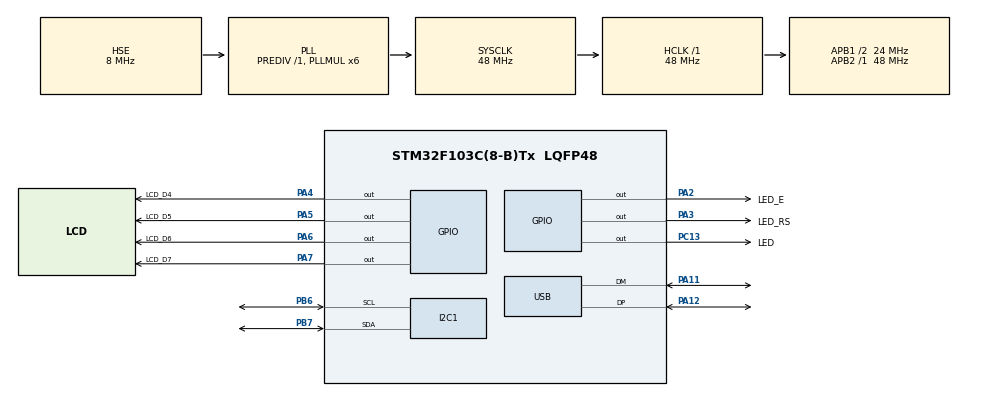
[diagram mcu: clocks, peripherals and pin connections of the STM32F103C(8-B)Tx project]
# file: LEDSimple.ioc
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Mcu.Family=STM32F1
Mcu.Name=STM32F103C(8-B)Tx
Mcu.Package=LQFP48
NVIC.PriorityGroup=NVIC_PRIORITYGROUP_4
NVIC.USB_LP_CAN1_RX0_IRQn=true\:0\:0\:false\:false\:true\:false\:true
PA11.Mode=Device
PA11.Signal=USB_DM
PA12.Mode=Device
PA12.Signal=USB_DP
PA13.Mode=Serial_Wire
PA13.Signal=SYS_JTMS-SWDIO
PA14.Mode=Serial_Wire
PA14.Signal=SYS_JTCK-SWCLK
PA2.GPIO_Label=LED_E
PA2.Signal=GPIO_Output
PA3.GPIO_Label=LED_RS
PA3.Signal=GPIO_Output
PA4.GPIO_Label=LCD_D4
PA4.Signal=GPIO_Output
PA5.GPIO_Label=LCD_D5
PA5.Signal=GPIO_Output
PA6.GPIO_Label=LCD_D6
PA6.Signal=GPIO_Output
PA7.GPIO_Label=LCD_D7
PA7.Signal=GPIO_Output
PB6.Mode=I2C
PB6.Signal=I2C1_SCL
PB7.Mode=I2C
PB7.Signal=I2C1_SDA
PC13-TAMPER-RTC.GPIO_Label=LED
PC13-TAMPER-RTC.Signal=GPIO_Output
PD0-OSC_IN.Mode=HSE-External-Oscillator
PD0-OSC_IN.Signal=RCC_OSC_IN
PD1-OSC_OUT.Mode=HSE-External-Oscillator
PD1-OSC_OUT.Signal=RCC_OSC_OUT
ProjectManager.HeapSize=0x200
ProjectManager.StackSize=0x400
ProjectManager.TargetToolchain=TrueSTUDIO
RCC.AHBFreq_Value=48000000
RCC.APB1CLKDivider=RCC_HCLK_DIV2
RCC.APB1Freq_Value=24000000
RCC.APB1TimFreq_Value=48000000
RCC.APB2Freq_Value=48000000
RCC.APB2TimFreq_Value=48000000
RCC.HCLKFreq_Value=48000000
RCC.PLLMUL=RCC_PLL_MUL6
RCC.SYSCLKFreq_VALUE=48000000
RCC.SYSCLKSource=RCC_SYSCLKSOURCE_PLLCLK
RCC.USBFreq_Value=48000000
USB_DEVICE.CLASS_NAME_FS=CDC
USB_DEVICE.VirtualMode=Cdc
USB_DEVICE.VirtualModeFS=Cdc_FS
VP_USB_DEVICE_VS_USB_DEVICE_CDC_FS.Mode=CDC_FS
board=custom

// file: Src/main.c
/* USER CODE BEGIN Header */
/**
  ******************************************************************************
  * @file           : main.c
  * @brief          : Main program body
  ******************************************************************************
  * @attention
  *
  * <h2><center>&copy; Copyright (c) 2019 STMicroelectronics.
  * All rights reserved.</center></h2>
  *
  * This software component is licensed by ST under BSD 3-Clause license,
  * the "License"; You may not use this file except in compliance with the
  * License. You may obtain a copy of the License at:
  *                        opensource.org/licenses/BSD-3-Clause
  *
  ******************************************************************************
  */
/* USER CODE END Header */

#include "main.h"
#include "usb_device.h"
#include "BMP280/bmp280.h"

/* USER CODE BEGIN PD */
BMP280_HandleTypedef bmp280;

float pressure = 2.1f;
float temperature = 2.5f;
float humidity = 2.4f;

uint16_t size;
uint8_t Data[256];
  /* USER CODE END 6 */

/* USER CODE END PD */

I2C_HandleTypeDef hi2c1;

void SystemClock_Config(void);
static void MX_GPIO_Init(void);
static void MX_I2C1_Init(void);

int main(void)
{

  /* MCU Configuration--------------------------------------------------------*/

  /* Reset of all peripherals, Initializes the Flash interface and the Systick. */
  HAL_Init();

  /* Configure the system clock */
  SystemClock_Config();

  /* Initialize all configured peripherals */
  MX_GPIO_Init();
  MX_USB_DEVICE_Init();
  MX_I2C1_Init();
  /* USER CODE BEGIN 2 */

LCD_Init();
MX_USB_DEVICE_Init();
//HAL_Delay2(500);
lcd_str_XY(1,0,"TEST :)");

bmp280_init_default_params(&bmp280.params);
	bmp280.addr = BMP280_I2C_ADDRESS_0;
	bmp280.i2c = &hi2c1;

	while (!bmp280_init(&bmp280, &bmp280.params)) {
		size = sprintf((char *)Data, "BMP280 initialization failed\n");
		lcd_str_XY(1,0, Data);
		HAL_Delay2(2000);
	}
	bool bme280p = bmp280.id == BME280_CHIP_ID;
		size = sprintf((char *)Data, "found %s !", bme280p ? "BME280" : "BMP280");
		lcd_str_XY(1,0,Data);

	HAL_Delay2(1000);

  /* USER CODE END 2 */

  /* Infinite loop */
  while (1)
  {
	  HAL_Delay2(100);
	  		while (!bmp280_read_float(&bmp280, &temperature, &pressure, &humidity)) {
	  			size = sprintf((char *)Data,
	  					"Temperature/pressure reading failed!");
	  			lcd_str_XY(1,0,Data);
	  			HAL_Delay(2000);
	  		}

	  		size = sprintf((char *)Data,"P: %d Pa             ",
	  				(int)pressure);

	  		lcd_str_XY(0,0,Data);
	  		if (bme280p) {
	  		size = sprintf((char *)Data,", H: %d %% T: %d C           ", (int)humidity, (int)temperature);
	  			lcd_str_XY(0,1,Data);
	  		}

	  		else {
	  			size = sprintf((char *)Data, "");
	  			lcd_str_XY(1,0, Data);
	  		}
	  		HAL_Delay2(2000);
  }
}

void SystemClock_Config(void)
{
  RCC_OscInitTypeDef RCC_OscInitStruct = {0};
  RCC_ClkInitTypeDef RCC_ClkInitStruct = {0};
  RCC_PeriphCLKInitTypeDef PeriphClkInit = {0};

  /** Initializes the CPU, AHB and APB busses clocks
  */
  RCC_OscInitStruct.OscillatorType = RCC_OSCILLATORTYPE_HSE;
  RCC_OscInitStruct.HSEState = RCC_HSE_ON;
  RCC_OscInitStruct.HSEPredivValue = RCC_HSE_PREDIV_DIV1;
  RCC_OscInitStruct.HSIState = RCC_HSI_ON;
  RCC_OscInitStruct.PLL.PLLState = RCC_PLL_ON;
  RCC_OscInitStruct.PLL.PLLSource = RCC_PLLSOURCE_HSE;
  RCC_OscInitStruct.PLL.PLLMUL = RCC_PLL_MUL6;
  if (HAL_RCC_OscConfig(&RCC_OscInitStruct) != HAL_OK)
  {
    Error_Handler();
  }
  /** Initializes the CPU, AHB and APB busses clocks
  */
  RCC_ClkInitStruct.ClockType = RCC_CLOCKTYPE_HCLK|RCC_CLOCKTYPE_SYSCLK
                              |RCC_CLOCKTYPE_PCLK1|RCC_CLOCKTYPE_PCLK2;
  RCC_ClkInitStruct.SYSCLKSource = RCC_SYSCLKSOURCE_PLLCLK;
  RCC_ClkInitStruct.AHBCLKDivider = RCC_SYSCLK_DIV1;
  RCC_ClkInitStruct.APB1CLKDivider = RCC_HCLK_DIV2;
  RCC_ClkInitStruct.APB2CLKDivider = RCC_HCLK_DIV1;

  if (HAL_RCC_ClockConfig(&RCC_ClkInitStruct, FLASH_LATENCY_1) != HAL_OK)
  {
    Error_Handler();
  }
  PeriphClkInit.PeriphClockSelection = RCC_PERIPHCLK_USB;
  PeriphClkInit.UsbClockSelection = RCC_USBCLKSOURCE_PLL;
  if (HAL_RCCEx_PeriphCLKConfig(&PeriphClkInit) != HAL_OK)
  {
    Error_Handler();
  }
}

static void MX_I2C1_Init(void)
{

  hi2c1.Instance = I2C1;
  hi2c1.Init.ClockSpeed = 100000;
  hi2c1.Init.DutyCycle = I2C_DUTYCYCLE_2;
  hi2c1.Init.OwnAddress1 = 0;
  hi2c1.Init.AddressingMode = I2C_ADDRESSINGMODE_7BIT;
  hi2c1.Init.DualAddressMode = I2C_DUALADDRESS_DISABLE;
  hi2c1.Init.OwnAddress2 = 0;
  hi2c1.Init.GeneralCallMode = I2C_GENERALCALL_DISABLE;
  hi2c1.Init.NoStretchMode = I2C_NOSTRETCH_DISABLE;
  if (HAL_I2C_Init(&hi2c1) != HAL_OK)
  {
    Error_Handler();
  }

}

static void MX_GPIO_Init(void)
{
  GPIO_InitTypeDef GPIO_InitStruct = {0};

  /* GPIO Ports Clock Enable */
  __HAL_RCC_GPIOC_CLK_ENABLE();
  __HAL_RCC_GPIOD_CLK_ENABLE();
  __HAL_RCC_GPIOA_CLK_ENABLE();
  __HAL_RCC_GPIOB_CLK_ENABLE();

  /*Configure GPIO pin Output Level */
  HAL_GPIO_WritePin(LED_PORT, LED_PIN, GPIO_PIN_RESET);

  /*Configure GPIO pin Output Level */
  HAL_GPIO_WritePin(GPIOA, LED_E_PIN|LED_RS_PIN|LCD_D4_PIN|LCD_D5_PIN
                          |LCD_D6_PIN|LCD_D7_PIN, GPIO_PIN_RESET);

  /*Configure GPIO pin : LED_PIN */
  GPIO_InitStruct.Pin = LED_PIN;
  GPIO_InitStruct.Mode = GPIO_MODE_OUTPUT_PP;
  GPIO_InitStruct.Pull = GPIO_NOPULL;
  GPIO_InitStruct.Speed = GPIO_SPEED_FREQ_LOW;
  HAL_GPIO_Init(LED_PORT, &GPIO_InitStruct);

  /*Configure GPIO pins : LED_E_PIN LED_RS_PIN LCD_D4_PIN LCD_D5_PIN
                           LCD_D6_PIN LCD_D7_PIN */
  GPIO_InitStruct.Pin = LED_E_PIN|LED_RS_PIN|LCD_D4_PIN|LCD_D5_PIN
                          |LCD_D6_PIN|LCD_D7_PIN;
  GPIO_InitStruct.Mode = GPIO_MODE_OUTPUT_PP;
  GPIO_InitStruct.Pull = GPIO_NOPULL;
  GPIO_InitStruct.Speed = GPIO_SPEED_FREQ_LOW;
  HAL_GPIO_Init(GPIOA, &GPIO_InitStruct);

}

void Error_Handler(void)
{
}

/************************ (C) COPYRIGHT STMicroelectronics *****END OF FILE****/
